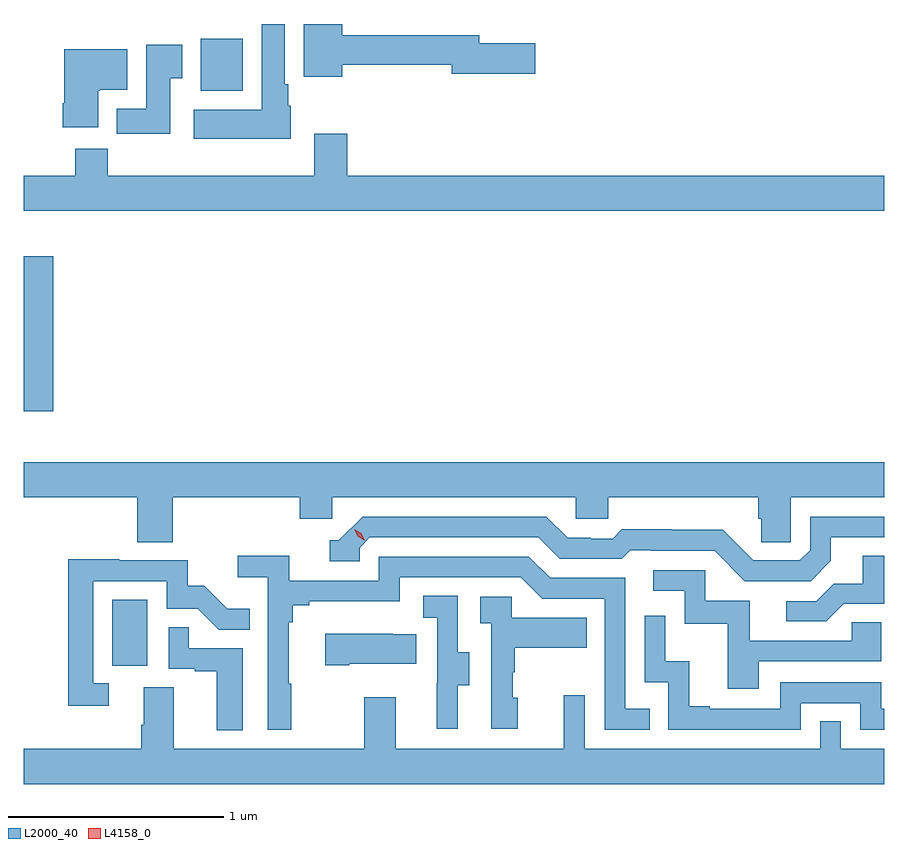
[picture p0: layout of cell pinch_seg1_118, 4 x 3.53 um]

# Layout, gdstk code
import gdstk
lib = gdstk.Library(unit=1e-6, precision=1e-09)
def R(c, l, rs):  # rectangles x0, y0, x1, y1
    for r in rs: c.add(gdstk.rectangle(r[:2], r[2:], *l))
def P(c, l, *ps):  # polygons
    for p in ps: c.add(gdstk.Polygon(p, *l))
L2000_40 = (2000, 40)
L4158_0 = (4158, 0)

pinch_seg1_118 = lib.new_cell('pinch_seg1_118')
R(pinch_seg1_118, L2000_40, [(1071.746,550.95,1071.91,551.257), (1071.335,552.132,1071.472,552.853), (1072.157,553.622,1072.354,553.864)])
P(pinch_seg1_118, L2000_40, [(1072.576,553.554),(1072.564,553.554),(1072.564,553.654),(1072.549,553.654),(1072.549,553.933),(1072.409,553.933),(1072.409,553.931),(1072.442,553.931),(1072.442,553.534),(1072.125,553.534),(1072.125,553.4),(1072.576,553.4)],
  [(1072.816,553.744),(1073.324,553.744),(1073.324,553.702),(1073.713,553.702),(1073.713,553.844),(1073.452,553.844),(1073.452,553.88),(1072.816,553.88),(1072.816,553.933),(1072.637,553.933),(1072.637,553.688),(1072.816,553.688)],
  [(1072.015,553.681),(1072.072,553.681),(1072.072,553.837),(1071.905,553.837),(1071.905,553.54),(1071.767,553.54),(1071.767,553.422),(1072.015,553.422)],
  [(1071.682,553.622),(1071.688,553.622),(1071.688,553.628),(1071.817,553.628),(1071.817,553.816),(1071.524,553.816),(1071.524,553.564),(1071.517,553.564),(1071.517,553.452),(1071.682,553.452)],
  [(1075.335,553.228),(1072.838,553.228),(1072.838,553.423),(1072.685,553.423),(1072.685,553.228),(1071.725,553.228),(1071.725,553.352),(1071.574,553.352),(1071.574,553.228),(1071.335,553.228),(1071.335,553.064),(1075.335,553.064)],
  [(1072.028,551.732),(1072.619,551.732),(1072.619,551.634),(1072.77,551.634),(1072.77,551.732),(1073.901,551.732),(1073.901,551.634),(1074.051,551.634),(1074.051,551.732),(1074.749,551.732),(1074.749,551.634),(1074.763,551.634),(1074.763,551.524),(1074.9,551.524),(1074.9,551.732),(1075.335,551.732),(1075.335,551.896),(1071.335,551.896),(1071.335,551.732),(1071.863,551.732),(1071.863,551.524),(1072.028,551.524)],
  [(1075.087,551.437),(1075.087,551.547),(1075.335,551.547),(1075.335,551.643),(1074.99,551.643),(1074.99,551.487),(1074.942,551.439),(1074.726,551.439),(1074.584,551.581),(1074.348,551.581),(1074.348,551.584),(1074.115,551.584),(1074.073,551.541),(1073.97,551.541),(1073.97,551.544),(1073.863,551.544),(1073.764,551.643),(1072.911,551.643),(1072.8,551.532),(1072.757,551.532),(1072.757,551.436),(1072.896,551.436),(1072.896,551.499),(1072.944,551.547),(1073.727,551.547),(1073.826,551.448),(1074.115,551.448),(1074.154,551.487),(1074.253,551.487),(1074.253,551.484),(1074.546,551.484),(1074.687,551.343),(1074.993,551.343)],
  [(1072.579,550.865),(1072.567,550.865),(1072.567,551.153),(1072.586,551.153),(1072.586,551.23),(1072.663,551.23),(1072.663,551.249),(1073.082,551.249),(1073.082,551.361),(1073.646,551.361),(1073.745,551.262),(1074.036,551.262),(1074.036,550.653),(1074.245,550.653),(1074.245,550.749),(1074.132,550.749),(1074.132,551.358),(1073.782,551.358),(1073.683,551.457),(1072.986,551.457),(1072.986,551.346),(1072.568,551.346),(1072.568,551.462),(1072.329,551.462),(1072.329,551.36),(1072.47,551.36),(1072.47,550.653),(1072.579,550.653)],
  [(1075.147,551.238),(1075.335,551.238),(1075.335,551.462),(1075.235,551.462),(1075.235,551.33),(1075.1,551.33),(1075.02,551.25),(1074.879,551.25),(1074.879,551.157),(1075.066,551.157)],
  [(1071.73,550.869),(1071.657,550.869),(1071.657,551.343),(1071.999,551.343),(1071.999,551.214),(1072.144,551.214),(1072.242,551.116),(1072.385,551.116),(1072.385,551.215),(1072.281,551.215),(1072.174,551.322),(1072.098,551.322),(1072.098,551.439),(1071.779,551.439),(1071.779,551.444),(1071.541,551.444),(1071.541,550.764),(1071.73,550.764)],
  [(1074.751,550.971),(1075.32,550.971),(1075.32,551.151),(1075.183,551.151),(1075.183,551.067),(1074.709,551.067),(1074.709,551.253),(1074.504,551.253),(1074.504,551.394),(1074.261,551.394),(1074.261,551.298),(1074.408,551.298),(1074.408,551.145),(1074.607,551.145),(1074.607,550.842),(1074.751,550.842)],
  [(1073.353,550.858),(1073.407,550.858),(1073.407,551.013),(1073.352,551.013),(1073.352,551.276),(1073.193,551.276),(1073.193,551.173),(1073.256,551.173),(1073.256,550.869),(1073.255,550.869),(1073.255,550.656),(1073.353,550.656)],
  [(1073.632,550.8),(1073.607,550.8),(1073.607,550.919),(1073.617,550.919),(1073.617,551.033),(1073.951,551.033),(1073.951,551.173),(1073.604,551.173),(1073.604,551.271),(1073.457,551.271),(1073.457,551.147),(1073.508,551.147),(1073.508,550.656),(1073.632,550.656)],
  [(1074.948,550.776),(1075.224,550.776),(1075.224,550.653),(1075.335,550.653),(1075.335,550.749),(1075.32,550.749),(1075.32,550.872),(1074.852,550.872),(1074.852,550.749),(1074.523,550.749),(1074.523,550.762),(1074.428,550.762),(1074.428,550.97),(1074.318,550.97),(1074.318,551.182),(1074.222,551.182),(1074.222,550.872),(1074.33,550.872),(1074.33,550.653),(1074.948,550.653)],
  [(1072.354,551.031),(1072.103,551.031),(1072.103,551.129),(1072.008,551.129),(1072.008,550.935),(1072.129,550.935),(1072.129,550.923),(1072.232,550.923),(1072.232,550.649),(1072.354,550.649)],
  [(1072.849,550.958),(1073.159,550.958),(1073.159,551.095),(1073.051,551.095),(1073.051,551.098),(1072.737,551.098),(1072.737,550.951),(1072.849,550.951)],
  [(1075.335,550.564),(1075.134,550.564),(1075.134,550.691),(1075.038,550.691),(1075.038,550.564),(1073.943,550.564),(1073.943,550.813),(1073.846,550.813),(1073.846,550.564),(1073.065,550.564),(1073.065,550.804),(1072.918,550.804),(1072.918,550.564),(1072.033,550.564),(1072.033,550.85),(1071.893,550.85),(1071.893,550.676),(1071.881,550.676),(1071.881,550.564),(1071.335,550.564),(1071.335,550.4),(1075.335,550.4)])
P(pinch_seg1_118, L4158_0, [(1072.918,551.532),(1072.888,551.552),(1072.872,551.584),(1072.872,551.584),(1072.872,551.584),(1072.903,551.565),(1072.919,551.532),(1072.919,551.532)])

lib.write_gds('pinch_seg1_118.gds')
